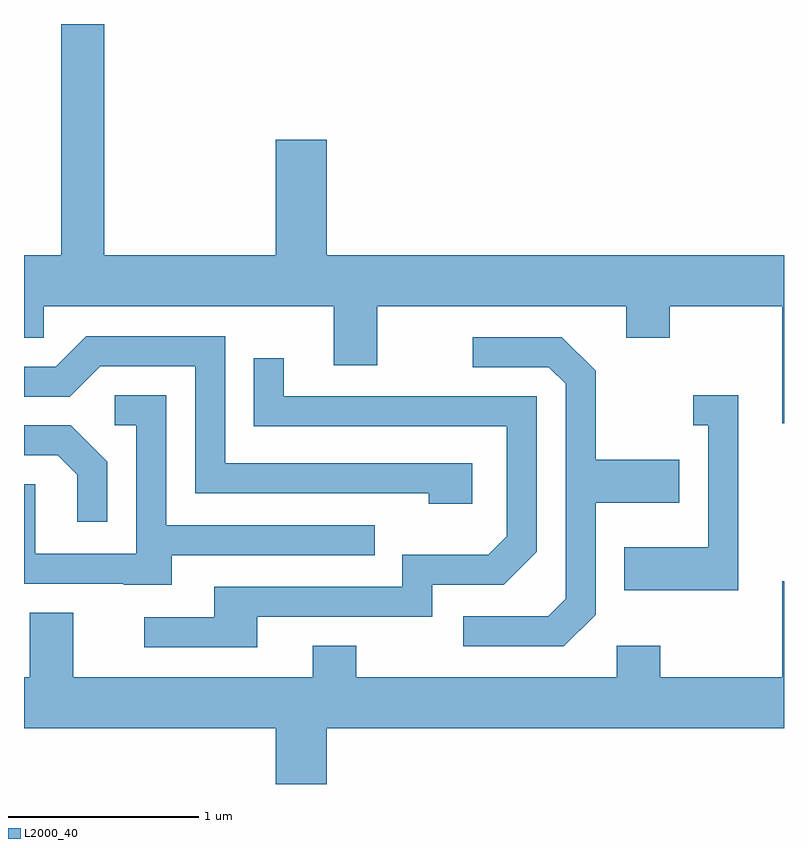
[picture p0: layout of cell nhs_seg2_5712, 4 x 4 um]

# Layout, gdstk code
import gdstk
lib = gdstk.Library(unit=1e-6, precision=1e-09)
def P(c, l, *ps):  # polygons
    for p in ps: c.add(gdstk.Polygon(p, *l))
L2000_40 = (2000, 40)

nhs_seg2_5712 = lib.new_cell('nhs_seg2_5712')
P(nhs_seg2_5712, L2000_40, [(357.611,1048.584),(355.204,1048.584),(355.204,1049.194),(354.936,1049.194),(354.936,1048.584),(354.034,1048.584),(354.034,1049.802),(353.806,1049.802),(353.806,1048.584),(353.611,1048.584),(353.611,1048.151),(353.714,1048.151),(353.714,1048.316),(355.241,1048.316),(355.241,1048.006),(355.469,1048.006),(355.469,1048.316),(356.781,1048.316),(356.781,1048.151),(357.009,1048.151),(357.009,1048.316),(357.601,1048.316),(357.601,1047.701),(357.611,1047.701)],
  [(355.969,1047.489),(354.669,1047.489),(354.669,1048.159),(353.939,1048.159),(353.779,1047.999),(353.611,1047.999),(353.611,1047.841),(353.852,1047.841),(354.012,1048.001),(354.511,1048.001),(354.511,1047.331),(355.741,1047.331),(355.741,1047.276),(355.969,1047.276)],
  [(356.619,1046.694),(356.619,1047.281),(357.059,1047.281),(357.059,1047.509),(356.619,1047.509),(356.619,1047.977),(356.442,1048.154),(355.973,1048.154),(355.973,1047.996),(356.374,1047.996),(356.461,1047.909),(356.461,1046.777),(356.369,1046.684),(355.923,1046.684),(355.923,1046.526),(356.452,1046.526)],
  [(354.839,1046.681),(355.759,1046.681),(355.759,1046.851),(356.137,1046.851),(356.309,1047.024),(356.309,1047.844),(354.979,1047.844),(354.979,1048.043),(354.821,1048.043),(354.821,1047.686),(356.151,1047.686),(356.151,1047.107),(356.054,1047.009),(355.601,1047.009),(355.601,1046.839),(354.611,1046.839),(354.611,1046.679),(354.243,1046.679),(354.243,1046.521),(354.839,1046.521)],
  [(354.389,1047.006),(355.458,1047.006),(355.458,1047.164),(354.359,1047.164),(354.359,1047.849),(354.088,1047.849),(354.088,1047.691),(354.201,1047.691),(354.201,1047.014),(353.669,1047.014),(353.669,1047.379),(353.611,1047.379),(353.611,1046.856),(354.135,1046.856),(354.135,1046.851),(354.389,1046.851)],
  [(357.369,1047.849),(357.133,1047.849),(357.133,1047.691),(357.211,1047.691),(357.211,1047.049),(356.771,1047.049),(356.771,1046.821),(357.369,1046.821)],
  [(354.049,1047.497),(353.857,1047.689),(353.611,1047.689),(353.611,1047.531),(353.789,1047.531),(353.891,1047.429),(353.891,1047.183),(354.049,1047.183)],
  [(355.204,1046.096),(357.611,1046.096),(357.611,1046.869),(357.601,1046.869),(357.601,1046.364),(356.959,1046.364),(356.959,1046.529),(356.731,1046.529),(356.731,1046.364),(355.359,1046.364),(355.359,1046.529),(355.131,1046.529),(355.131,1046.364),(353.869,1046.364),(353.869,1046.704),(353.641,1046.704),(353.641,1046.364),(353.611,1046.364),(353.611,1046.096),(354.936,1046.096),(354.936,1045.802),(355.204,1045.802)])

lib.write_gds('nhs_seg2_5712.gds')
